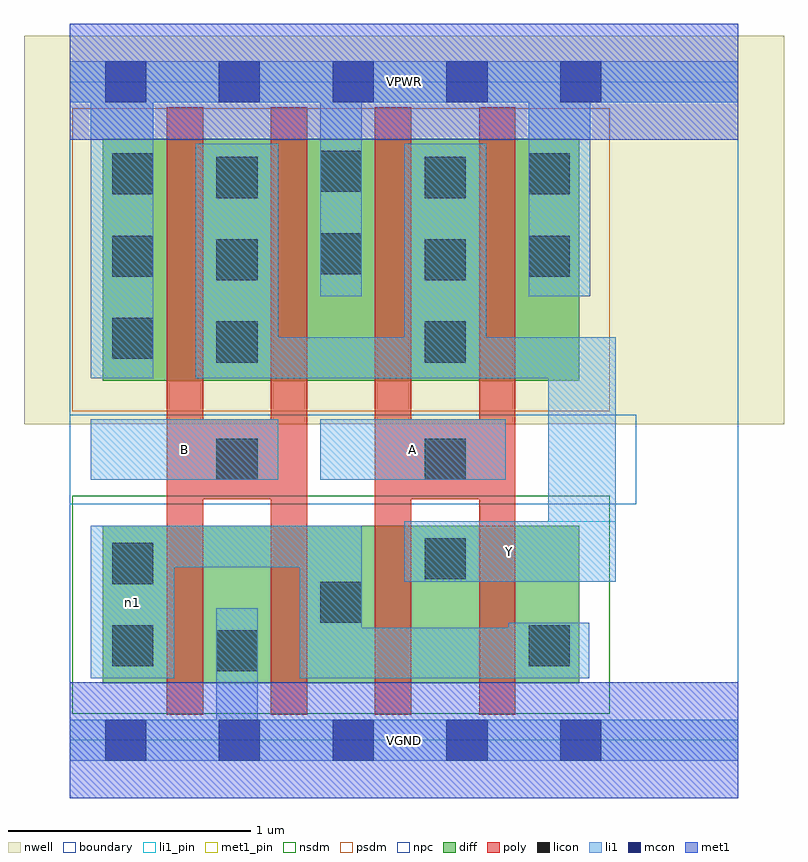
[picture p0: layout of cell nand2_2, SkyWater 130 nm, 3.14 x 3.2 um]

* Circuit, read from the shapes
.subckt nand2_2 A B VGND VPWR Y n1
XM1 VGND B n1 VSUBS sky130_fd_pr__nfet_01v8 w=0.65 l=0.15 m=2
XM2 Y A n1 VSUBS sky130_fd_pr__nfet_01v8 w=0.65 l=0.15 m=2
XM3 Y B VPWR n2 sky130_fd_pr__pfet_01v8 w=1 l=0.15 m=2
XM4 Y A VPWR n2 sky130_fd_pr__pfet_01v8 w=1 l=0.15 m=2
.ends

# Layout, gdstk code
import gdstk
lib = gdstk.Library(unit=1e-6, precision=1e-09)
def R(c, l, rs):  # rectangles x0, y0, x1, y1
    for r in rs: c.add(gdstk.rectangle(r[:2], r[2:], *l))
def A(c, l, x, y, w, h, nx, ny, dx, dy):  # array of equal rectangles
    R(c, l, [(x+i*dx, y+j*dy, x+i*dx+w, y+j*dy+h) for i in range(nx) for j in range(ny)])
nwell = (64, 20)
diff = (65, 20)
poly = (66, 20)
licon = (66, 44)
li1_pin = (67, 16)
li1 = (67, 20)
mcon = (67, 44)
met1_pin = (68, 16)
met1 = (68, 20)
nsdm = (93, 44)
psdm = (94, 20)
npc = (95, 20)
boundary = (235, 4)

nand2_2 = lib.new_cell('nand2_2')
R(nand2_2, nwell, [(-0.19,1.305,2.95,2.91), (0,1.305,2.76,2.91)])
R(nand2_2, diff, [(0.135,0.235,2.105,0.885), (0.135,1.485,2.105,2.485)])
A(nand2_2, poly, 0.4, 0.105, 0.15, 2.51, 4, 1, 0.43, 0)
R(nand2_2, poly, [(0.4,0.995,0.98,1.325), (1.26,0.995,1.84,1.325)])
A(nand2_2, licon, 0.605, 1.56, 0.17, 0.17, 1, 3, 0, 0.34)
A(nand2_2, licon, 1.465, 1.56, 0.17, 0.17, 1, 3, 0, 0.34)
A(nand2_2, licon, 0.175, 1.575, 0.17, 0.17, 1, 3, 0, 0.34)
R(nand2_2, licon, [(0.605,0.285,0.775,0.455), (0.175,0.305,0.345,0.475), (1.895,0.305,2.065,0.475), (1.035,0.485,1.205,0.655), (0.175,0.645,0.345,0.815), (1.465,0.665,1.635,0.835), (0.605,1.075,0.775,1.245), (1.465,1.075,1.635,1.245), (1.895,1.915,2.065,2.085), (1.035,1.925,1.205,2.095), (1.895,2.255,2.065,2.425), (1.035,2.265,1.205,2.435)])
R(nand2_2, li1_pin, [(1.38,0.655,2.255,0.905), (0.085,1.075,0.86,1.325), (1.035,1.075,1.8,1.325)])
R(nand2_2, li1, [(0,-0.085,2.76,0.085), (0.605,-0.085,0.775,0.545), (0.085,0.255,0.43,0.885), (0.95,0.255,2.145,0.465), (0.95,0.255,1.205,0.885), (1.81,0.255,2.145,0.485), (1.38,0.655,2.255,0.905), (1.975,0.655,2.255,1.665), (0.085,0.715,1.205,0.885), (0.085,1.075,0.86,1.325), (1.035,1.075,1.8,1.325), (0.085,1.495,0.345,2.805), (0.52,1.495,0.86,2.465), (0.52,1.495,2.255,1.665), (1.38,1.495,1.72,2.465), (1.035,1.835,1.205,2.805), (1.895,1.835,2.15,2.805), (0,2.635,2.76,2.805)])
A(nand2_2, mcon, 0.145, -0.085, 0.17, 0.17, 5, 2, 0.47, 2.72)
R(nand2_2, met1_pin, [(0,-0.24,2.76,0.24), (0,2.48,2.76,2.96)])
R(nand2_2, met1, [(0,-0.24,2.76,0.24), (0,2.48,2.76,2.96)])
R(nand2_2, nsdm, [(0.01,0.11,2.23,1.01)])
R(nand2_2, psdm, [(0.01,1.36,2.23,2.61)])
R(nand2_2, npc, [(0,0.975,2.34,1.345)])
R(nand2_2, boundary, [(0,0,2.76,2.72)])
nand2_2.add(gdstk.Label('A', (1.417,1.2), layer=67, texttype=5))
nand2_2.add(gdstk.Label('B', (0.472,1.2), layer=67, texttype=5))
nand2_2.add(gdstk.Label('Y', (1.817,0.78), layer=67, texttype=5))
nand2_2.add(gdstk.Label('n1', (0.257,0.57), layer=67, texttype=5))
nand2_2.add(gdstk.Label('VPWR', (1.38,2.72), layer=68, texttype=5))
nand2_2.add(gdstk.Label('VGND', (1.38,0), layer=68, texttype=5))
nand2_2.add(gdstk.Label('A', (1.417,1.2), layer=67, texttype=16))
nand2_2.add(gdstk.Label('B', (0.472,1.2), layer=67, texttype=16))
nand2_2.add(gdstk.Label('Y', (1.817,0.78), layer=67, texttype=16))
nand2_2.add(gdstk.Label('VPWR', (1.38,2.72), layer=68, texttype=16))
nand2_2.add(gdstk.Label('VGND', (1.38,0), layer=68, texttype=16))

lib.write_gds('nand2_2.gds')
